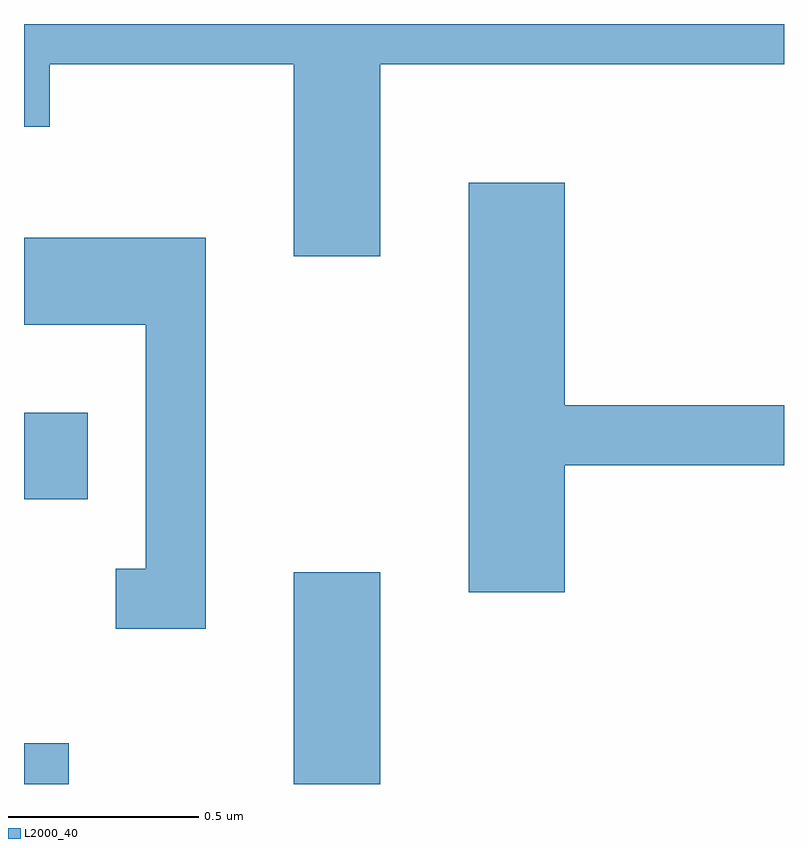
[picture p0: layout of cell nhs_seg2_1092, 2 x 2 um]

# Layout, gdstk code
import gdstk
lib = gdstk.Library(unit=1e-6, precision=1e-09)
def R(c, l, rs):  # rectangles x0, y0, x1, y1
    for r in rs: c.add(gdstk.rectangle(r[:2], r[2:], *l))
def P(c, l, *ps):  # polygons
    for p in ps: c.add(gdstk.Polygon(p, *l))
L2000_40 = (2000, 40)

nhs_seg2_1092 = lib.new_cell('nhs_seg2_1092')
R(nhs_seg2_1092, L2000_40, [(192.611,1110.802,192.729,1110.909), (193.321,1110.802,193.549,1111.359), (192.611,1111.551,192.779,1111.779)])
P(nhs_seg2_1092, L2000_40, [(193.549,1112.696),(194.611,1112.696),(194.611,1112.802),(192.611,1112.802),(192.611,1112.531),(192.679,1112.531),(192.679,1112.696),(193.321,1112.696),(193.321,1112.191),(193.549,1112.191)],
  [(194.034,1111.641),(194.611,1111.641),(194.611,1111.799),(194.034,1111.799),(194.034,1112.384),(193.781,1112.384),(193.781,1111.306),(194.034,1111.306)],
  [(193.089,1112.239),(192.611,1112.239),(192.611,1112.011),(192.931,1112.011),(192.931,1111.369),(192.853,1111.369),(192.853,1111.211),(193.089,1111.211)])

lib.write_gds('nhs_seg2_1092.gds')
